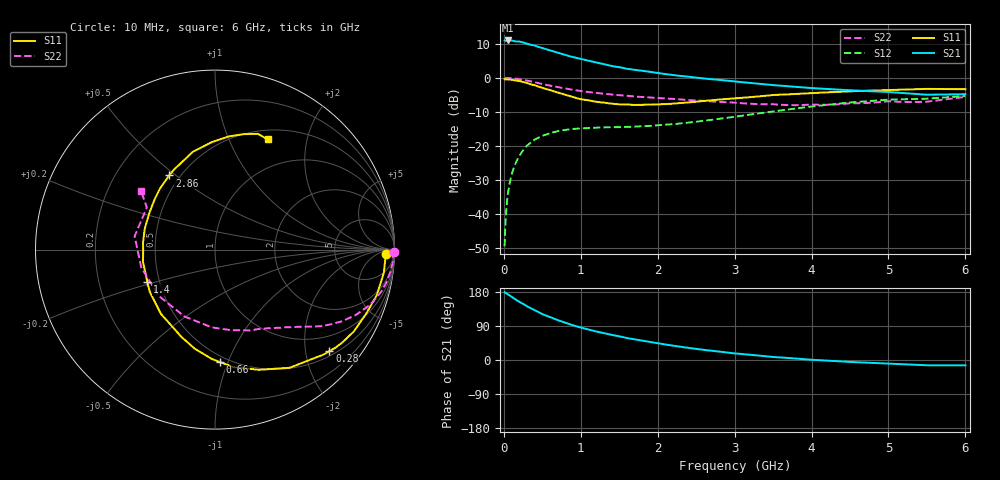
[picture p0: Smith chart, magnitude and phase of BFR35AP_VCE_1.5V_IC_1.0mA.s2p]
! Infineon Technologies  Discrete & RF Semiconductors
! BFR35AP
! VCE =  1.5 V,  IC =  1.0 mA
! Common Emitter S-Parameters:  Nov 2015
# GHz  S  MA  R  50
!  f  S11  S21  S12  S22
! GHz  MAG  ANG  MAG  ANG  MAG  ANG  MAG  ANG
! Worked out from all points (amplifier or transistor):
!   210 points, 10 MHz to 6 GHz, reference 50 ohm
!   highest |S21| = 11.0 dB at 50 MHz (marker M1)
!   |S21| within 3 dB of that: start of sweep to 613 MHz
!   unconditionally stable (mu >= 1): 1.374 GHz to end of sweep
!   at 185 MHz: K = 0.16, MSG = 17.1 dB, |S12| = -23.5 dB
!   at 1.52 GHz: K = 1.08, MAG = 7.0 dB, |S12| = -14.5 dB
!   at 6 GHz: K = 1.06, MAG = -1.3 dB, |S12| = -5.3 dB
!   S11 on the Smith chart (normalised r, x): 10 MHz: 32, -17; 280 MHz: 0.60, -2.51; 660 MHz: 0.45, -0.94; 1.4 GHz: 0.43, -0.19; 2.86 GHz: 0.44, +0.47; 6 GHz: 0.61, +1.40
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0.01  0.9525 -1.5  3.526 179.1  0.0034 87.4  0.9994 -0.7
0.025  0.9498 -4.0  3.481 176.6  0.009 88.2  0.9896 -1.8
0.05  0.9496 -7.8  3.528 173.5  0.0189 85.5  0.994 -3.7
0.1  0.9367 -15.7  3.527 167.1  0.0376 80.6  0.9846 -7.3
0.13  0.922 -20.0  3.455 162.8  0.0479 76.8  0.9771 -9.4
0.2  0.8981 -30.5  3.404 153.6  0.0715 71.1  0.956 -14.1
0.28  0.8525 -41.6  3.218 144.0  0.0952 64.1  0.9201 -19.0
0.4  0.7784 -57.8  2.971 131.4  0.1239 55.5  0.8631 -25.1
0.5  0.7133 -69.9  2.734 121.1  0.1413 49.4  0.811 -29.5
0.66  0.6282 -87.3  2.404 108.3  0.1609 41.8  0.745 -34.5
0.82  0.5545 -103.2  2.12 96.8  0.1739 36.5  0.6903 -38.4
1.02  0.4815 -122.4  1.87 84.6  0.1815 31.9  0.6352 -42.6
1.2  0.4453 -138.6  1.678 75.2  0.1855 29.2  0.5996 -46.2
1.4  0.4181 -154.6  1.491 66.4  0.1881 27.8  0.5705 -49.9
1.7  0.4 -178.3  1.314 54.4  0.192 28.6  0.5317 -55.4
2.02  0.409 161.6  1.168 43.5  0.2023 30.9  0.5022 -62.0
2.86  0.4855 121.7  0.918 20.8  0.2557 35.7  0.4399 -87.1
3.1  0.5096 114.1  0.862 15.7  0.2785 35.3  0.4236 -96.7
4.1  0.6053 89.8  0.696 -0.4  0.39 28.0  0.4026 -145.8
5.1  0.6669 74.8  0.608 -10.6  0.481 13.7  0.447 166.3
5.5  0.688 69.6  0.565 -13.9  0.4944 7.1  0.4465 148.3
6  0.6802 64.5  0.575 -14.2  0.5403 2.7  0.5253 141.6
